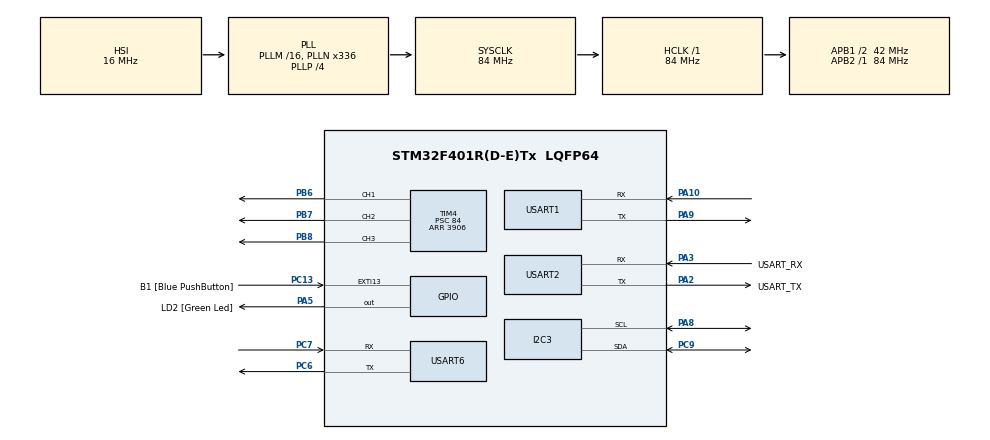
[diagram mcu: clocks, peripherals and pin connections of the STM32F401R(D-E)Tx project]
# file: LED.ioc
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I2C3.OwnAddress=100
Mcu.Family=STM32F4
Mcu.Name=STM32F401R(D-E)Tx
Mcu.Package=LQFP64
NVIC.PriorityGroup=NVIC_PRIORITYGROUP_1
NVIC.USART1_IRQn=true\:1\:0\:true\:false\:true\:true\:true
NVIC.USART6_IRQn=true\:1\:0\:true\:false\:true\:true\:true
PA10.Mode=Asynchronous
PA10.Signal=USART1_RX
PA13.GPIO_Label=TMS
PA13.Mode=Serial_Wire
PA13.Signal=SYS_JTMS-SWDIO
PA14.GPIO_Label=TCK
PA14.Mode=Serial_Wire
PA14.Signal=SYS_JTCK-SWCLK
PA2.GPIO_Label=USART_TX
PA2.GPIO_Mode=GPIO_MODE_AF_PP
PA2.GPIO_PuPd=GPIO_NOPULL
PA2.GPIO_Speed=GPIO_SPEED_FREQ_LOW
PA2.Mode=Asynchronous
PA2.Signal=USART2_TX
PA3.GPIO_Label=USART_RX
PA3.GPIO_Mode=GPIO_MODE_AF_PP
PA3.GPIO_PuPd=GPIO_NOPULL
PA3.GPIO_Speed=GPIO_SPEED_FREQ_LOW
PA3.Mode=Asynchronous
PA3.Signal=USART2_RX
PA5.GPIO_Label=LD2 [Green Led]
PA5.GPIO_Mode=GPIO_MODE_OUTPUT_PP
PA5.GPIO_PuPd=GPIO_NOPULL
PA5.GPIO_Speed=GPIO_SPEED_FREQ_LOW
PA5.Signal=GPIO_Output
PA8.Mode=I2C
PA8.Signal=I2C3_SCL
PA9.Mode=Asynchronous
PA9.Signal=USART1_TX
PB3.GPIO_Label=SWO
PB3.Signal=SYS_JTDO-SWO
PB6.Signal=S_TIM4_CH1
PB7.Signal=S_TIM4_CH2
PB8.Signal=S_TIM4_CH3
PC13-ANTI_TAMP.GPIO_Label=B1 [Blue PushButton]
PC13-ANTI_TAMP.GPIO_ModeDefaultEXTI=GPIO_MODE_IT_FALLING
PC13-ANTI_TAMP.GPIO_PuPd=GPIO_NOPULL
PC13-ANTI_TAMP.Signal=GPXTI13
PC14-OSC32_IN.Mode=LSE-External-Oscillator
PC14-OSC32_IN.Signal=RCC_OSC32_IN
PC15-OSC32_OUT.Mode=LSE-External-Oscillator
PC15-OSC32_OUT.Signal=RCC_OSC32_OUT
PC6.Mode=Asynchronous
PC6.Signal=USART6_TX
PC7.Mode=Asynchronous
PC7.Signal=USART6_RX
PC9.Mode=I2C
PC9.Signal=I2C3_SDA
PH0\ -\ OSC_IN.Mode=HSE-External-Clock-Source
PH0\ -\ OSC_IN.Signal=RCC_OSC_IN
PH1\ -\ OSC_OUT.Mode=HSE-External-Clock-Source
PH1\ -\ OSC_OUT.Signal=RCC_OSC_OUT
ProjectManager.HeapSize=0x200
ProjectManager.StackSize=0x400
ProjectManager.TargetToolchain=STM32CubeIDE
RCC.48MHZClocksFreq_Value=48000000
RCC.AHBFreq_Value=84000000
RCC.APB1CLKDivider=RCC_HCLK_DIV2
RCC.APB1Freq_Value=42000000
RCC.APB1TimFreq_Value=84000000
RCC.APB2Freq_Value=84000000
RCC.APB2TimFreq_Value=84000000
RCC.CortexFreq_Value=84000000
RCC.HCLKFreq_Value=84000000
RCC.HSE_VALUE=8000000
RCC.HSI_VALUE=16000000
RCC.PLLN=336
RCC.PLLP=RCC_PLLP_DIV4
RCC.PLLQ=7
RCC.SYSCLKFreq_VALUE=84000000
RCC.SYSCLKSource=RCC_SYSCLKSOURCE_PLLCLK
RCC.VCOOutputFreq_Value=336000000
SH.S_TIM4_CH1.0=TIM4_CH1,PWM Generation1 CH1
SH.S_TIM4_CH2.0=TIM4_CH2,PWM Generation2 CH2
SH.S_TIM4_CH3.0=TIM4_CH3,PWM Generation3 CH3
TIM4.Channel-PWM\ Generation1\ CH1=TIM_CHANNEL_1
TIM4.Channel-PWM\ Generation2\ CH2=TIM_CHANNEL_2
TIM4.Channel-PWM\ Generation3\ CH3=TIM_CHANNEL_3
TIM4.Period=3906
TIM4.Prescaler=84
TIM4.Pulse-PWM\ Generation1\ CH1=0
TIM4.Pulse-PWM\ Generation2\ CH2=0
TIM4.Pulse-PWM\ Generation3\ CH3=0
USART1.VirtualMode=VM_ASYNC
USART2.VirtualMode=VM_ASYNC
USART6.VirtualMode=VM_ASYNC
VP_TIM4_VS_ClockSourceINT.Mode=Internal
board=NUCLEO-F401RE

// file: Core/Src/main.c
/* USER CODE BEGIN Header */
/**
 ******************************************************************************
 * @file           : main.c
 * @brief          : Main program body
 ******************************************************************************
 * @attention
 *
 * Copyright (c) 2022 STMicroelectronics.
 * All rights reserved.
 *
 * This software is licensed under terms that can be found in the LICENSE file
 * in the root directory of this software component.
 * If no LICENSE file comes with this software, it is provided AS-IS.
 *
 ******************************************************************************
 */
/* USER CODE END Header */
#include "main.h"
#include <stdbool.h>

I2C_HandleTypeDef hi2c3;

TIM_HandleTypeDef htim4;

UART_HandleTypeDef huart1;
UART_HandleTypeDef huart2;
UART_HandleTypeDef huart6;

void SystemClock_Config(void);
static void MX_GPIO_Init(void);
static void MX_USART2_UART_Init(void);
static void MX_TIM4_Init(void);
static void MX_USART1_UART_Init(void);
static void MX_USART6_UART_Init(void);
static void MX_I2C3_Init(void);

/* USER CODE BEGIN 0 */

// LED
uint8_t red = 0;
uint8_t green = 0;
uint8_t blue = 0;
uint8_t percentage = 0;

// Circular Buffer
int sum = 0;
uint8_t start = 0;
uint8_t hastTagIdx = -1;
uint8_t dominantIdx = -1;

char redHEX[2];
char greenHEX[2];
char blueHEX[2];
uint8_t hexString[7];
uint8_t brightness[4];

// TERMINAL
char termainalBuffer[50];

// UART
uint8_t UART1_byte;
uint8_t UART1_data[7];
uint8_t UART1_indx = 0;

uint8_t UART6_byte;
uint8_t UART6_data[4];
uint8_t UART6_indx = 0;

void set_rgbByPercentage(uint8_t red, uint8_t green, uint8_t blue,
		uint8_t percentage) {
	// LED SET UP depending on given Setting
	htim4.Instance->CCR1 = red * percentage / 100;
	htim4.Instance->CCR2 = blue * percentage / 100;
	htim4.Instance->CCR3 = green * percentage / 100;
}
uint8_t hexToDec(char *hexstring) {
	// Convert Hexadecinal to Decimal Int
	return (uint8_t) strtol(hexstring, NULL, 16);
}
void convertColor() {
	// Turn HEX String in buffer to Int and assign to its correct color buffer (Circular Buffer)
	for (int i = 0; i < 7; i++) {
		if (hexString[i] == '#' || hexString[i] == '"') {
			hastTagIdx = i;
			break;
		}
	}
	sprintf(redHEX, "%c%c", hexString[(hastTagIdx + 1) % 7],
			hexString[(hastTagIdx + 2) % 7]);
	sprintf(greenHEX, "%c%c", hexString[(hastTagIdx + 3) % 7],
			hexString[(hastTagIdx + 4) % 7]);
	sprintf(blueHEX, "%c%c", hexString[(hastTagIdx + 5) % 7],
			hexString[(hastTagIdx + 6) % 7]);

	red = hexToDec(redHEX);
	green = hexToDec(greenHEX);
	blue = hexToDec(blueHEX);
}
uint8_t convertPercentage(uint8_t *buffer) {
	// Turn string in buffer to Int (Circular Buffer)
	bool isFind = false;
	bool behind = false;
	start = 0;
	for (int i = 0; i < 4; i++) {
		if (buffer[i] == '-')
			behind = true;
		if (behind && buffer[i] != '-') {
			start = i;
			break;
		}
	}
	int len = 0;
	for (int i = 0; i < 4; i++) {
		if (buffer[i] != '-')
			len += 1;
	}
	bool isEnd = false;
	int idx = start;
	sum = 0;
	while (!isEnd) {
		if (buffer[idx] == '-')
			break;
		sum += (buffer[idx] - '0') * pow(10, len - 1);
		idx += 1;
		idx %= 4;
		len -= 1;
	}
	return sum;
}
void HAL_UART_RxCpltCallback(UART_HandleTypeDef *huart) {
	// UART1 Interrupt Receive -> HEX Color
	// UART6 Interrupt Receive -> Brightness Percentage
	if (huart->Instance == USART1) {		// RECEIVE HEX COLOR (#FF00FF)
		if (UART1_indx == 7) {
			UART1_indx = 0;
		}
		UART1_data[UART1_indx] = UART1_byte;
		hexString[UART1_indx] = UART1_byte;
		UART1_indx++;

	} else if (huart->Instance == USART6) { // RECEIVE BRIGHNESS (0-100)
		if (UART6_indx == 4) {
			UART6_indx = 0;
		}
		UART6_data[UART6_indx] = UART6_byte;
		brightness[UART6_indx] = UART6_byte;
		UART6_indx++;
	}
	// Receive next Interrupt
	HAL_UART_Receive_IT(&huart1, &UART1_byte, 1);
	HAL_UART_Receive_IT(&huart6, &UART6_byte, 1);
}
/* USER CODE END 0 */

int main(void) {

	/* MCU Configuration--------------------------------------------------------*/

	/* Reset of all peripherals, Initializes the Flash interface and the Systick. */
	HAL_Init();

	/* Configure the system clock */
	SystemClock_Config();

	/* Initialize all configured peripherals */
	MX_GPIO_Init();
	MX_USART2_UART_Init();
	MX_TIM4_Init();
	MX_USART1_UART_Init();
	MX_USART6_UART_Init();
	MX_I2C3_Init();
	/* USER CODE BEGIN 2 */

	// TIMER FOR BLINKING LED

	HAL_TIM_PWM_Start(&htim4, TIM_CHANNEL_1);	// RED
	HAL_TIM_PWM_Start(&htim4, TIM_CHANNEL_3);	// GREEN
	HAL_TIM_PWM_Start(&htim4, TIM_CHANNEL_2);	// BLUE

	// Receive next UART Interrupt
	HAL_UART_Receive_IT(&huart1, &UART1_byte, 1);
	HAL_UART_Receive_IT(&huart6, &UART6_byte, 1);
	/* USER CODE END 2 */

	/* Infinite loop */
	/* USER CODE BEGIN WHILE */
	while (1) {

		// PREP FOR COLOR (it'll set up red/green/blue parameter that you see below)
		convertColor();

		// PREP FOR PERCENTAGE
		percentage = convertPercentage(brightness);

		// TERMINAL CHECKING
		sprintf(termainalBuffer, "R : %d G: %d B: %d P : %d\r\n", red, green,
				blue, percentage);
		HAL_UART_Transmit(&huart2, termainalBuffer, strlen(termainalBuffer),
				1000);

		// SET UP LED BY FOLLOWING VALUE
		set_rgbByPercentage(red, green, blue, percentage);

		HAL_Delay(1000);

		/* USER CODE END WHILE */

	}
}

void SystemClock_Config(void) {
	RCC_OscInitTypeDef RCC_OscInitStruct = { 0 };
	RCC_ClkInitTypeDef RCC_ClkInitStruct = { 0 };

	/** Configure the main internal regulator output voltage
	 */
	__HAL_RCC_PWR_CLK_ENABLE();
	__HAL_PWR_VOLTAGESCALING_CONFIG(PWR_REGULATOR_VOLTAGE_SCALE2);
	/** Initializes the RCC Oscillators according to the specified parameters
	 * in the RCC_OscInitTypeDef structure.
	 */
	RCC_OscInitStruct.OscillatorType = RCC_OSCILLATORTYPE_HSI;
	RCC_OscInitStruct.HSIState = RCC_HSI_ON;
	RCC_OscInitStruct.HSICalibrationValue = RCC_HSICALIBRATION_DEFAULT;
	RCC_OscInitStruct.PLL.PLLState = RCC_PLL_ON;
	RCC_OscInitStruct.PLL.PLLSource = RCC_PLLSOURCE_HSI;
	RCC_OscInitStruct.PLL.PLLM = 16;
	RCC_OscInitStruct.PLL.PLLN = 336;
	RCC_OscInitStruct.PLL.PLLP = RCC_PLLP_DIV4;
	RCC_OscInitStruct.PLL.PLLQ = 7;
	if (HAL_RCC_OscConfig(&RCC_OscInitStruct) != HAL_OK) {
		Error_Handler();
	}
	/** Initializes the CPU, AHB and APB buses clocks
	 */
	RCC_ClkInitStruct.ClockType = RCC_CLOCKTYPE_HCLK | RCC_CLOCKTYPE_SYSCLK
			| RCC_CLOCKTYPE_PCLK1 | RCC_CLOCKTYPE_PCLK2;
	RCC_ClkInitStruct.SYSCLKSource = RCC_SYSCLKSOURCE_PLLCLK;
	RCC_ClkInitStruct.AHBCLKDivider = RCC_SYSCLK_DIV1;
	RCC_ClkInitStruct.APB1CLKDivider = RCC_HCLK_DIV2;
	RCC_ClkInitStruct.APB2CLKDivider = RCC_HCLK_DIV1;

	if (HAL_RCC_ClockConfig(&RCC_ClkInitStruct, FLASH_LATENCY_2) != HAL_OK) {
		Error_Handler();
	}
}

static void MX_I2C3_Init(void) {

	hi2c3.Instance = I2C3;
	hi2c3.Init.ClockSpeed = 100000;
	hi2c3.Init.DutyCycle = I2C_DUTYCYCLE_2;
	hi2c3.Init.OwnAddress1 = 200;
	hi2c3.Init.AddressingMode = I2C_ADDRESSINGMODE_7BIT;
	hi2c3.Init.DualAddressMode = I2C_DUALADDRESS_DISABLE;
	hi2c3.Init.OwnAddress2 = 0;
	hi2c3.Init.GeneralCallMode = I2C_GENERALCALL_DISABLE;
	hi2c3.Init.NoStretchMode = I2C_NOSTRETCH_DISABLE;
	if (HAL_I2C_Init(&hi2c3) != HAL_OK) {
		Error_Handler();
	}

}

static void MX_TIM4_Init(void) {

	TIM_ClockConfigTypeDef sClockSourceConfig = { 0 };
	TIM_MasterConfigTypeDef sMasterConfig = { 0 };
	TIM_OC_InitTypeDef sConfigOC = { 0 };

	htim4.Instance = TIM4;
	htim4.Init.Prescaler = 84;
	htim4.Init.CounterMode = TIM_COUNTERMODE_UP;
	htim4.Init.Period = 3906;
	htim4.Init.ClockDivision = TIM_CLOCKDIVISION_DIV1;
	htim4.Init.AutoReloadPreload = TIM_AUTORELOAD_PRELOAD_DISABLE;
	if (HAL_TIM_Base_Init(&htim4) != HAL_OK) {
		Error_Handler();
	}
	sClockSourceConfig.ClockSource = TIM_CLOCKSOURCE_INTERNAL;
	if (HAL_TIM_ConfigClockSource(&htim4, &sClockSourceConfig) != HAL_OK) {
		Error_Handler();
	}
	if (HAL_TIM_PWM_Init(&htim4) != HAL_OK) {
		Error_Handler();
	}
	sMasterConfig.MasterOutputTrigger = TIM_TRGO_RESET;
	sMasterConfig.MasterSlaveMode = TIM_MASTERSLAVEMODE_DISABLE;
	if (HAL_TIMEx_MasterConfigSynchronization(&htim4, &sMasterConfig)
			!= HAL_OK) {
		Error_Handler();
	}
	sConfigOC.OCMode = TIM_OCMODE_PWM1;
	sConfigOC.Pulse = 0;
	sConfigOC.OCPolarity = TIM_OCPOLARITY_HIGH;
	sConfigOC.OCFastMode = TIM_OCFAST_DISABLE;
	if (HAL_TIM_PWM_ConfigChannel(&htim4, &sConfigOC, TIM_CHANNEL_1)
			!= HAL_OK) {
		Error_Handler();
	}
	if (HAL_TIM_PWM_ConfigChannel(&htim4, &sConfigOC, TIM_CHANNEL_2)
			!= HAL_OK) {
		Error_Handler();
	}
	if (HAL_TIM_PWM_ConfigChannel(&htim4, &sConfigOC, TIM_CHANNEL_3)
			!= HAL_OK) {
		Error_Handler();
	}
	HAL_TIM_MspPostInit(&htim4);

}

static void MX_USART1_UART_Init(void) {

	huart1.Instance = USART1;
	huart1.Init.BaudRate = 115200;
	huart1.Init.WordLength = UART_WORDLENGTH_8B;
	huart1.Init.StopBits = UART_STOPBITS_1;
	huart1.Init.Parity = UART_PARITY_NONE;
	huart1.Init.Mode = UART_MODE_TX_RX;
	huart1.Init.HwFlowCtl = UART_HWCONTROL_NONE;
	huart1.Init.OverSampling = UART_OVERSAMPLING_16;
	if (HAL_UART_Init(&huart1) != HAL_OK) {
		Error_Handler();
	}

}

static void MX_USART2_UART_Init(void) {

	huart2.Instance = USART2;
	huart2.Init.BaudRate = 115200;
	huart2.Init.WordLength = UART_WORDLENGTH_8B;
	huart2.Init.StopBits = UART_STOPBITS_1;
	huart2.Init.Parity = UART_PARITY_NONE;
	huart2.Init.Mode = UART_MODE_TX_RX;
	huart2.Init.HwFlowCtl = UART_HWCONTROL_NONE;
	huart2.Init.OverSampling = UART_OVERSAMPLING_16;
	if (HAL_UART_Init(&huart2) != HAL_OK) {
		Error_Handler();
	}

}

static void MX_USART6_UART_Init(void) {

	huart6.Instance = USART6;
	huart6.Init.BaudRate = 115200;
	huart6.Init.WordLength = UART_WORDLENGTH_8B;
	huart6.Init.StopBits = UART_STOPBITS_1;
	huart6.Init.Parity = UART_PARITY_NONE;
	huart6.Init.Mode = UART_MODE_TX_RX;
	huart6.Init.HwFlowCtl = UART_HWCONTROL_NONE;
	huart6.Init.OverSampling = UART_OVERSAMPLING_16;
	if (HAL_UART_Init(&huart6) != HAL_OK) {
		Error_Handler();
	}

}

static void MX_GPIO_Init(void) {
	GPIO_InitTypeDef GPIO_InitStruct = { 0 };

	/* GPIO Ports Clock Enable */
	__HAL_RCC_GPIOC_CLK_ENABLE();
	__HAL_RCC_GPIOH_CLK_ENABLE();
	__HAL_RCC_GPIOA_CLK_ENABLE();
	__HAL_RCC_GPIOB_CLK_ENABLE();

	/*Configure GPIO pin Output Level */
	HAL_GPIO_WritePin(LD2_GPIO_Port, LD2_Pin, GPIO_PIN_RESET);

	/*Configure GPIO pin : B1_Pin */
	GPIO_InitStruct.Pin = B1_Pin;
	GPIO_InitStruct.Mode = GPIO_MODE_IT_FALLING;
	GPIO_InitStruct.Pull = GPIO_NOPULL;
	HAL_GPIO_Init(B1_GPIO_Port, &GPIO_InitStruct);

	/*Configure GPIO pin : LD2_Pin */
	GPIO_InitStruct.Pin = LD2_Pin;
	GPIO_InitStruct.Mode = GPIO_MODE_OUTPUT_PP;
	GPIO_InitStruct.Pull = GPIO_NOPULL;
	GPIO_InitStruct.Speed = GPIO_SPEED_FREQ_LOW;
	HAL_GPIO_Init(LD2_GPIO_Port, &GPIO_InitStruct);

}

void Error_Handler(void) {
	__disable_irq();
	while (1) {
	}
}
